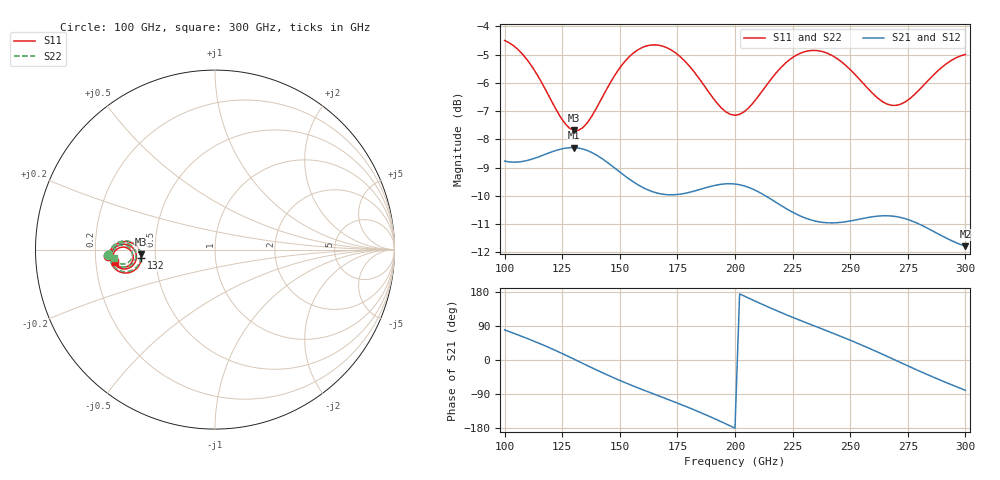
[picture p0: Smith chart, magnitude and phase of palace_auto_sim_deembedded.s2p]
! Created with skrf 1.11.0 (http://scikit-rf.org).
# GHz S DB R 50.0
!freq dBS11 angS11 dBS21 angS21 dBS12 angS12 dBS22 angS22
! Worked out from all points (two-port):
!   101 points, 100 GHz to 300 GHz, reference 50 ohm
!   highest |S21| = -8.29 dB at 130 GHz (marker M1); lowest = -11.8 dB at 300 GHz (marker M2)
!   |S21| within 3 dB of the highest: start of sweep to 287 GHz
!   lowest |S11| = -7.7 dB at 130 GHz (marker M3), VSWR 2.41, Z = 20.8 - j1.36 ohm
!   |S11| at or under -10 dB: nowhere
!   |S22| runs from -7.6 to -4.5 dB; largest |S21 - S12| = 3.7e-14
!   S11 on the Smith chart (normalised r, x): 100 GHz: 0.25, -0.03; 132 GHz: 0.42, -0.05; 300 GHz: 0.28, -0.06
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100  -4.50 -176.7  -8.77 79.5  -8.77 79.5  -4.49 -177.1
116  -5.98 174.9  -8.58 41.4  -8.58 41.4  -5.95 174.4
130  -7.68 -176.2  -8.29 2.6  -8.29 2.6  -7.64 -176.9
132  -7.68 -173.7  -8.31 -3.3  -8.31 -3.3  -7.64 -174.4
134  -7.58 -171.3  -8.34 -9.2  -8.34 -9.2  -7.54 -172.0
142  -6.57 -165.3  -8.66 -32.3  -8.66 -32.3  -6.54 -166.2
150  -5.47 -166.1  -9.15 -53.9  -9.15 -53.9  -5.45 -167.0
158  -4.82 -170.2  -9.61 -73.8  -9.61 -73.8  -4.81 -171.1
168  -4.69 -176.6  -9.93 -97.3  -9.93 -97.3  -4.68 -177.5
184  -5.80 176.7  -9.79 -136.0  -9.79 -136.0  -5.78 175.7
192  -6.70 178.4  -9.62 -157.3  -9.62 -157.3  -6.67 177.4
200  -7.15 -175.5  -9.58 -179.8  -9.58 -179.8  -7.12 -176.5
208  -6.70 -169.4  -9.77 157.5  -9.77 157.5  -6.67 -170.5
216  -5.83 -167.8  -10.13 135.6  -10.13 135.6  -5.81 -169.0
224  -5.16 -170.0  -10.53 115.2  -10.53 115.2  -5.14 -171.2
234  -4.85 -174.9  -10.87 91.0  -10.87 91.0  -4.83 -176.1
250  -5.53 178.8  -10.89 52.2  -10.89 52.2  -5.49 177.5
260  -6.39 179.6  -10.73 26.1  -10.73 26.1  -6.33 178.2
268  -6.80 -175.9  -10.71 4.1  -10.71 4.1  -6.72 -177.6
276  -6.55 -171.0  -10.86 -18.1  -10.86 -18.1  -6.49 -172.8
284  -5.90 -168.9  -11.16 -39.8  -11.16 -39.8  -5.86 -171.0
300  -4.99 -173.0  -11.78 -80.0  -11.78 -80.0  -4.99 -175.1
